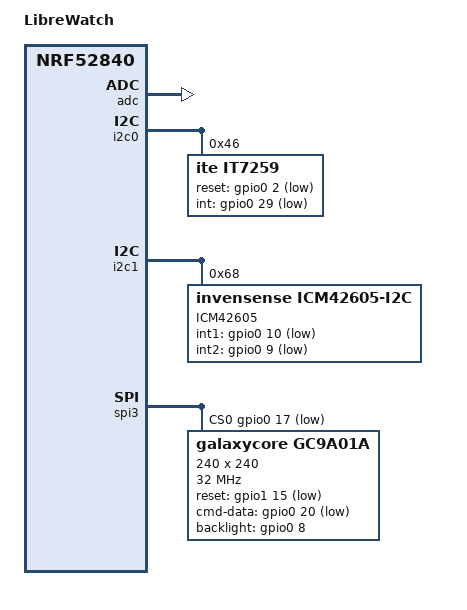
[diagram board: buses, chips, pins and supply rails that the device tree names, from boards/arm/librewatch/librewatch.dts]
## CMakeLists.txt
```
cmake_minimum_required(VERSION 3.20.0)

set(BOARD_ROOT ${CMAKE_CURRENT_SOURCE_DIR})
set(ZEPHYR_EXTRA_MODULES ${BOARD_ROOT}/drivers)

if (NOT BUILD_TYPE)
    set(BUILD_TYPE debug)
endif()

list(APPEND CONF_FILE
    ${CMAKE_CURRENT_LIST_DIR}/conf/prj.conf
    ${CMAKE_CURRENT_LIST_DIR}/conf/prj_${BUILD_TYPE}.conf
)

find_package(Zephyr REQUIRED HINTS $ENV{ZEPHYR_BASE})
project(LibreWatch)

target_sources(app PRIVATE src/main.c)

zephyr_include_directories(conf)

zephyr_library_include_directories(
  src/events
  src/ui
  src/ui/assets
)

add_subdirectory(src/modules)
add_subdirectory(src/events)
add_subdirectory(src/ui)
```

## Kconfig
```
menu "Zephyr Kernel"
source "Kconfig.zephyr"
endmenu

menu "Application"
rsource "src/modules/Kconfig"
rsource "src/events/Kconfig"
rsource "src/ui/Kconfig"
endmenu
```

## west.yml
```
manifest:
    remotes:
      - name: seenemikk
        url-base: https://github.com/seenemikk
      - name: ncs
        url-base: https://github.com/nrfconnect
      - name: nordicsemi
        url-base: https://github.com/NordicSemiconductor
      - name: zephyr
        url-base: https://github.com/zephyrproject-rtos

    defaults:
        remote: seenemikk

    projects:
      - name: nrf
        repo-path: sdk-nrf
        revision: v2.0.2-smartwatch
      - name: zephyr
        repo-path: sdk-zephyr
        revision: v3.0.99-ncs1-smartwatch
        import:
            name-allowlist:
              - cmsis
              - hal_nordic
              - segger
      - name: mcuboot
        repo-path: sdk-mcuboot
        revision: v1.9.99-ncs1
        path: bootloader/mcuboot
      - name: mbedtls-nrf
        repo-path: sdk-mbedtls
        revision: v3.0.0-ncs2
        path: mbedtls
      - name: nrfxlib
        repo-path: sdk-nrfxlib
        revision: v2.0.2
        path: nrfxlib
      - name: lvgl
        revision: af95bdfcf6784edd958ea08139c713e2d3dee7af
        path: modules/lib/gui/lvgl
      - name: tinycrypt
        revision: 3e9a49d2672ec01435ffbf0d788db6d95ef28de0
        path: modules/crypto/tinycrypt
        remote: zephyr
      - name: zcbor
        remote: nordicsemi
        revision: 3d36ae19cb05d28cea23b4c870ae965c44215e9c
        path: modules/lib/zcbor

    self:
        path: application
```

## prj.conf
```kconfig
CONFIG_PM=y
CONFIG_PM_DEVICE=y

CONFIG_MAIN_STACK_SIZE=2048

CONFIG_LVGL=y
CONFIG_LV_CONF_MINIMAL=y
CONFIG_LV_USE_ASSERT_NULL=y
CONFIG_LV_USE_ASSERT_MALLOC=y
CONFIG_LV_USE_ASSERT_STYLE=y

CONFIG_LV_USE_BTN=y
CONFIG_LV_USE_LABEL=y

CONFIG_LV_COLOR_DEPTH_16=y
CONFIG_LV_COLOR_16_SWAP=y

CONFIG_LV_FONT_DEFAULT_MONTSERRAT_14=y
CONFIG_LV_USE_THEME_DEFAULT=y
CONFIG_LV_THEME_DEFAULT_DARK=y
```

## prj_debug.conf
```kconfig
CONFIG_PRINTK=y
CONFIG_LOG=y
CONFIG_KSCAN_LOG_LEVEL_DBG=y
CONFIG_DISPLAY_LOG_LEVEL_DBG=y

CONFIG_DEBUG=y
CONFIG_DEBUG_OPTIMIZATIONS=y
CONFIG_DEBUG_THREAD_INFO=y
```

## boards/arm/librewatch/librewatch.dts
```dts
/dts-v1/;
#include <nordic/nrf52840_qiaa.dtsi>
#include "librewatch-pinctrl.dtsi"

/ {
    model = "LibreWatch";
    compatible = "librewatch,librewatch";

    chosen {
        zephyr,sram = &sram0;
        zephyr,flash = &flash0;
        zephyr,code-partition = &slot0_partition;
        zephyr,display = &gc9a01a;
        zephyr,keyboard_scan = &it7259;
    };
};

&adc {
    status = "okay";
};

&gpiote {
    status = "okay";
};

&gpio0 {
    status = "okay";
};

&gpio1 {
    status = "okay";
};

&i2c0 {
    compatible = "nordic,nrf-twim";
    status = "okay";
    pinctrl-0 = <&i2c0_default>;
    pinctrl-1 = <&i2c0_sleep>;
    pinctrl-names = "default", "sleep";

    // Touch sensor
    it7259: it7259@46 {
        compatible = "ite,it7259";
        reg = <0x46>;
        label = "IT7259";

        reset-gpios = <&gpio0 2 GPIO_ACTIVE_LOW>;
        int-gpios = <&gpio0 29 GPIO_ACTIVE_LOW>;
    };
};

&i2c1 {
    compatible = "nordic,nrf-twim";
    status = "okay";
    pinctrl-0 = <&i2c1_default>;
    pinctrl-1 = <&i2c1_sleep>;
    pinctrl-names = "default", "sleep";

    // IMU
    icm42605: icm42605@68 {
        compatible = "invensense,icm42605-i2c";
        reg = <0x68>;
        label = "ICM42605";

        int1-gpios = <&gpio0 10 GPIO_ACTIVE_LOW>;
        int2-gpios = <&gpio0 9 GPIO_ACTIVE_LOW>;
    };
};

&spi3 {
    compatible = "nordic,nrf-spim";
    status = "okay";
    pinctrl-0 = <&spi3_default>;
    pinctrl-1 = <&spi3_sleep>;
    pinctrl-names = "default", "sleep";
    cs-gpios = <&gpio0 17 GPIO_ACTIVE_LOW>;

    // Display
    gc9a01a: gc9a01a@0 {
        compatible = "galaxycore,gc9a01a";
        reg = <0>;
        spi-max-frequency = <32000000>;
        label = "GC9A01A";

        reset-gpios = <&gpio1 15 GPIO_ACTIVE_LOW>;
        cmd-data-gpios = <&gpio0 20 GPIO_ACTIVE_LOW>;
        backlight-gpios = <&gpio0 8 GPIO_ACTIVE_HIGH>;
        height = <240>;
        width = <240>;
    };
};

&flash0 {
    partitions {
        compatible = "fixed-partitions";
        #address-cells = <1>;
        #size-cells = <1>;

        boot_partition: partition@0 {
            label = "mcuboot";
            reg = <0x000000000 0x0000C000>;
        };
        slot0_partition: partition@c000 {
            label = "image-0";
            reg = <0x0000C000 0x00067000>;
        };
        slot1_partition: partition@73000 {
            label = "image-1";
            reg = <0x00073000 0x00067000>;
        };
        scratch_partition: partition@da000 {
            label = "image-scratch";
            reg = <0x000da000 0x0001e000>;
        };

        /*
         * The flash starting at 0x000f8000 and ending at
         * 0x000fffff is reserved for use by the application.
         */

        /*
         * Storage partition will be used by FCB/LittleFS/NVS
         * if enabled.
         */
        storage_partition: partition@f8000 {
            label = "storage";
            reg = <0x000f8000 0x00008000>;
        };
    };
};
```

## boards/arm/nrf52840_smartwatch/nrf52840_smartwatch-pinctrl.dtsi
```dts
&pinctrl {
    i2c0_default: i2c0_default {
        group1 {
            psels = <NRF_PSEL(TWIM_SDA, 0, 26)>,
                    <NRF_PSEL(TWIM_SCL, 0, 4)>;
            nordic,drive-mode = <NRF_DRIVE_S0D1>;
        };
    };

    i2c0_sleep: i2c0_sleep {
        group1 {
            psels = <NRF_PSEL(TWIM_SDA, 0, 26)>,
                    <NRF_PSEL(TWIM_SCL, 0, 4)>;
            nordic,drive-mode = <NRF_DRIVE_S0D1>;
            low-power-enable;
        };
    };

    i2c1_default: i2c1_default {
        group1 {
            psels = <NRF_PSEL(TWIM_SDA, 0, 22)>,
                    <NRF_PSEL(TWIM_SCL, 0, 24)>;
            bias-pull-up;
            nordic,drive-mode = <NRF_DRIVE_S0D1>;
        };
    };

    i2c1_sleep: i2c1_sleep {
        group1 {
            psels = <NRF_PSEL(TWIM_SDA, 0, 22)>,
                    <NRF_PSEL(TWIM_SCL, 0, 24)>;
            bias-pull-up;
            nordic,drive-mode = <NRF_DRIVE_S0D1>;
            low-power-enable;
        };
    };

    spi3_default: spi3_default {
        group1 {
            psels = <NRF_PSEL(SPIM_SCK, 0, 13)>,
                    <NRF_PSEL(SPIM_MOSI, 0, 15)>;
        };
    };

    spi3_sleep: spi3_sleep {
        group1 {
            psels = <NRF_PSEL(SPIM_SCK, 0, 13)>,
                    <NRF_PSEL(SPIM_MOSI, 0, 15)>;
            low-power-enable;
        };
    };
};
```

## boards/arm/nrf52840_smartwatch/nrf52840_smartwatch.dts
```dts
/dts-v1/;
#include <nordic/nrf52840_qiaa.dtsi>
#include "nrf52840_smartwatch-pinctrl.dtsi"

/ {
    model = "nRF52840 SmartWatch";
    compatible = "seenemikk,nrf52840-smartwatch";

    chosen {
        zephyr,sram = &sram0;
        zephyr,flash = &flash0;
        zephyr,code-partition = &slot0_partition;
        zephyr,display = &gc9a01a;
        zephyr,keyboard_scan = &it7259;
    };
};

&adc {
    status = "okay";
};

&gpiote {
    status = "okay";
};

&gpio0 {
    status = "okay";
};

&gpio1 {
    status = "okay";
};

&i2c0 {
    compatible = "nordic,nrf-twim";
    status = "okay";
    pinctrl-0 = <&i2c0_default>;
    pinctrl-1 = <&i2c0_sleep>;
    pinctrl-names = "default", "sleep";

    // Touch sensor
    it7259: it7259@46 {
        compatible = "ite,it7259";
        reg = <0x46>;
        label = "IT7259";

        reset-gpios = <&gpio0 2 GPIO_ACTIVE_LOW>;
        int-gpios = <&gpio0 29 GPIO_ACTIVE_LOW>;
    };
};

&i2c1 {
    compatible = "nordic,nrf-twim";
    status = "okay";
    pinctrl-0 = <&i2c1_default>;
    pinctrl-1 = <&i2c1_sleep>;
    pinctrl-names = "default", "sleep";

    // IMU
    icm42605: icm42605@68 {
        compatible = "invensense,icm42605-i2c";
        reg = <0x68>;
        label = "ICM42605";

        int1-gpios = <&gpio0 10 GPIO_ACTIVE_LOW>;
        int2-gpios = <&gpio0 9 GPIO_ACTIVE_LOW>;
    };
};

&spi3 {
    compatible = "nordic,nrf-spim";
    status = "okay";
    pinctrl-0 = <&spi3_default>;
    pinctrl-1 = <&spi3_sleep>;
    pinctrl-names = "default", "sleep";
    cs-gpios = <&gpio0 17 GPIO_ACTIVE_LOW>;

    // Display
    gc9a01a: gc9a01a@0 {
        compatible = "galaxycore,gc9a01a";
        reg = <0>;
        spi-max-frequency = <32000000>;
        label = "GC9A01A";

        reset-gpios = <&gpio1 15 GPIO_ACTIVE_LOW>;
        cmd-data-gpios = <&gpio0 20 GPIO_ACTIVE_LOW>;
        backlight-gpios = <&gpio0 8 GPIO_ACTIVE_HIGH>;
        height = <240>;
        width = <240>;
    };
};

&flash0 {
    partitions {
        compatible = "fixed-partitions";
        #address-cells = <1>;
        #size-cells = <1>;

        boot_partition: partition@0 {
            label = "mcuboot";
            reg = <0x000000000 0x0000C000>;
        };
        slot0_partition: partition@c000 {
            label = "image-0";
            reg = <0x0000C000 0x00067000>;
        };
        slot1_partition: partition@73000 {
            label = "image-1";
            reg = <0x00073000 0x00067000>;
        };
        scratch_partition: partition@da000 {
            label = "image-scratch";
            reg = <0x000da000 0x0001e000>;
        };

        /*
         * The flash starting at 0x000f8000 and ending at
         * 0x000fffff is reserved for use by the application.
         */

        /*
         * Storage partition will be used by FCB/LittleFS/NVS
         * if enabled.
         */
        storage_partition: partition@f8000 {
            label = "storage";
            reg = <0x000f8000 0x00008000>;
        };
    };
};
```

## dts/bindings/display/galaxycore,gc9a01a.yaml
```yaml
description: GC9A01A display controller

compatible: "galaxycore,gc9a01a"

include: [spi-device.yaml, display-controller.yaml]

properties:
    reset-gpios:
        type: phandle-array
        required: true
        description: |
            RESET pin.
            The RESET pin of GC9A01A is active low.
            If connected directly the MCU pin should be configured
            as active low.
    cmd-data-gpios:
        type: phandle-array
        required: true
        description: |
            D/CX pin. The D/CX pin of GC9A01A is active low (transmission command byte).
            If connected directly the MCU pin should be configured
            as active low.
    backlight-gpios:
        type: phandle-array
        required: true
        description: |
            Backlight pin. Should be configured as active high.
```

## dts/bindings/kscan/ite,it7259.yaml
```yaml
description: IT7259 capacitive touch sensor

compatible: "ite,it7259"

include: [i2c-device.yaml, kscan.yaml]

properties:
    reset-gpios:
        type: phandle-array
        required: true
        description: |
            RESET pin.
            The RESET pin of IT7259 is active low.
            If connected directly the MCU pin should be configured
            as active low.
    int-gpios:
        type: phandle-array
        required: true
        description: |
            Interrupt pin. Should be configured as active low.
```

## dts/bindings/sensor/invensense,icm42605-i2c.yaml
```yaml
description: ICM42605 6-Axis MEMS Motion Sensor

compatible: "invensense,icm42605-i2c"

include: [i2c-device.yaml]

properties:
    int1-gpios:
        type: phandle-array
        required: true
        description: |
            Interrupt pin. Should be configured as active low.
    int2-gpios:
        type: phandle-array
        required: true
        description: |
            Interrupt pin. Should be configured as active low.
```

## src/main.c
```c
#include <app_event_manager.h>

#define MODULE main
#include <caf/events/module_state_event.h>

#include <zephyr/logging/log.h>
LOG_MODULE_REGISTER(MODULE);

void main(void)
{
    if (app_event_manager_init()) {
        LOG_ERR("Application Event Manager not initialized");
    } else {
        module_set_state(MODULE_STATE_READY);
    }
}
```
